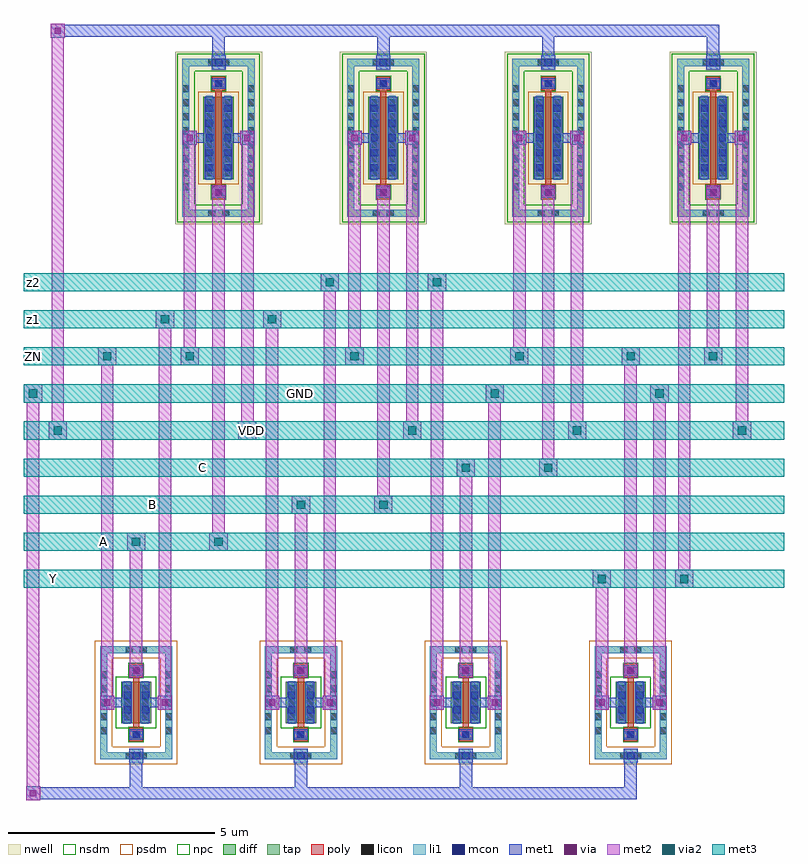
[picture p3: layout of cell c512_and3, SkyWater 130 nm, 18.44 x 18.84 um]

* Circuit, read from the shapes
.subckt c512_and3 A B C GND VDD Y ZN z1 z2
XM1 z1 A ZN GND sky130_fd_pr__nfet_01v8 w=1 l=0.15
XM2 z2 B z1 GND sky130_fd_pr__nfet_01v8 w=1 l=0.15
XM3 GND C z2 GND sky130_fd_pr__nfet_01v8 w=1 l=0.15
XM4 GND ZN Y GND sky130_fd_pr__nfet_01v8 w=1 l=0.15
XM5 VDD A ZN VDD sky130_fd_pr__pfet_01v8 w=2 l=0.15
XM6 VDD B ZN VDD sky130_fd_pr__pfet_01v8 w=2 l=0.15
XM7 VDD C ZN VDD sky130_fd_pr__pfet_01v8 w=2 l=0.15
XM8 VDD ZN Y VDD sky130_fd_pr__pfet_01v8 w=2 l=0.15
.ends

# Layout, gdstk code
import gdstk
lib = gdstk.Library(unit=1e-6, precision=1e-09)
def R(c, l, rs):  # rectangles x0, y0, x1, y1
    for r in rs: c.add(gdstk.rectangle(r[:2], r[2:], *l))
def A(c, l, x, y, w, h, nx, ny, dx, dy):  # array of equal rectangles
    R(c, l, [(x+i*dx, y+j*dy, x+i*dx+w, y+j*dy+h) for i in range(nx) for j in range(ny)])
nwell = (64, 20)
diff = (65, 20)
tap = (65, 44)
poly = (66, 20)
licon = (66, 44)
li1 = (67, 20)
mcon = (67, 44)
met1 = (68, 20)
via = (68, 44)
met2 = (69, 20)
via2 = (69, 44)
met3 = (70, 20)
nsdm = (93, 44)
psdm = (94, 20)
npc = (95, 20)

c512_and3 = lib.new_cell('c512_and3')
A(c512_and3, nwell, 3.945, 11.605, 2.11, 4.19, 4, 1, 4, 0)
A(c512_and3, diff, 2.635, -0.5, 0.73, 1, 4, 1, 4, 0)
A(c512_and3, diff, 4.635, 12.7, 0.73, 2, 4, 1, 4, 0)
A(c512_and3, tap, 2.125, -1.37, 1.75, 0.17, 4, 2, 4, 2.57)
A(c512_and3, tap, 4.125, 11.785, 1.75, 0.17, 4, 2, 4, 3.66)
R(c512_and3, tap, [(2.125,-1.2,2.295,1.2), (3.705,-1.2,3.875,1.2), (6.125,-1.2,6.295,1.2), (7.705,-1.2,7.875,1.2), (10.125,-1.2,10.295,1.2), (11.705,-1.2,11.875,1.2), (14.125,-1.2,14.295,1.2), (15.705,-1.2,15.875,1.2), (4.125,11.955,4.295,15.445), (5.705,11.955,5.875,15.445), (8.125,11.955,8.295,15.445), (9.705,11.955,9.875,15.445), (12.125,11.955,12.295,15.445), (13.705,11.955,13.875,15.445), (16.125,11.955,16.295,15.445), (17.705,11.955,17.875,15.445)])
A(c512_and3, poly, 2.835, -0.94, 0.33, 0.33, 4, 2, 4, 1.55)
A(c512_and3, poly, 2.925, -0.61, 0.15, 1.22, 4, 1, 4, 0)
A(c512_and3, poly, 4.835, 12.215, 0.33, 0.33, 4, 2, 4, 2.64)
A(c512_and3, poly, 4.925, 12.545, 0.15, 2.31, 4, 1, 4, 0)
A(c512_and3, licon, 2.915, -0.86, 0.17, 0.17, 4, 2, 4, 1.55)
A(c512_and3, licon, 2.125, -0.765, 0.17, 0.17, 1, 5, 0, 0.34)
A(c512_and3, licon, 3.705, -0.765, 0.17, 0.17, 1, 5, 0, 0.34)
A(c512_and3, licon, 6.125, -0.765, 0.17, 0.17, 1, 5, 0, 0.34)
A(c512_and3, licon, 7.705, -0.765, 0.17, 0.17, 1, 5, 0, 0.34)
A(c512_and3, licon, 10.125, -0.765, 0.17, 0.17, 1, 5, 0, 0.34)
A(c512_and3, licon, 11.705, -0.765, 0.17, 0.17, 1, 5, 0, 0.34)
A(c512_and3, licon, 14.125, -0.765, 0.17, 0.17, 1, 5, 0, 0.34)
A(c512_and3, licon, 15.705, -0.765, 0.17, 0.17, 1, 5, 0, 0.34)
A(c512_and3, licon, 2.695, -0.425, 0.17, 0.17, 1, 3, 0, 0.34)
A(c512_and3, licon, 3.135, -0.425, 0.17, 0.17, 1, 3, 0, 0.34)
A(c512_and3, licon, 6.695, -0.425, 0.17, 0.17, 1, 3, 0, 0.34)
A(c512_and3, licon, 7.135, -0.425, 0.17, 0.17, 1, 3, 0, 0.34)
A(c512_and3, licon, 10.695, -0.425, 0.17, 0.17, 1, 3, 0, 0.34)
A(c512_and3, licon, 11.135, -0.425, 0.17, 0.17, 1, 3, 0, 0.34)
A(c512_and3, licon, 14.695, -0.425, 0.17, 0.17, 1, 3, 0, 0.34)
A(c512_and3, licon, 15.135, -0.425, 0.17, 0.17, 1, 3, 0, 0.34)
A(c512_and3, licon, 4.915, 12.295, 0.17, 0.17, 4, 2, 4, 2.64)
A(c512_and3, licon, 4.125, 12.425, 0.17, 0.17, 1, 8, 0, 0.34)
A(c512_and3, licon, 5.705, 12.425, 0.17, 0.17, 1, 8, 0, 0.34)
A(c512_and3, licon, 8.125, 12.425, 0.17, 0.17, 1, 8, 0, 0.34)
A(c512_and3, licon, 9.705, 12.425, 0.17, 0.17, 1, 8, 0, 0.34)
A(c512_and3, licon, 12.125, 12.425, 0.17, 0.17, 1, 8, 0, 0.34)
A(c512_and3, licon, 13.705, 12.425, 0.17, 0.17, 1, 8, 0, 0.34)
A(c512_and3, licon, 16.125, 12.425, 0.17, 0.17, 1, 8, 0, 0.34)
A(c512_and3, licon, 17.705, 12.425, 0.17, 0.17, 1, 8, 0, 0.34)
A(c512_and3, licon, 4.695, 12.765, 0.17, 0.17, 1, 6, 0, 0.34)
A(c512_and3, licon, 5.135, 12.765, 0.17, 0.17, 1, 6, 0, 0.34)
A(c512_and3, licon, 8.695, 12.765, 0.17, 0.17, 1, 6, 0, 0.34)
A(c512_and3, licon, 9.135, 12.765, 0.17, 0.17, 1, 6, 0, 0.34)
A(c512_and3, licon, 12.695, 12.765, 0.17, 0.17, 1, 6, 0, 0.34)
A(c512_and3, licon, 13.135, 12.765, 0.17, 0.17, 1, 6, 0, 0.34)
A(c512_and3, licon, 16.695, 12.765, 0.17, 0.17, 1, 6, 0, 0.34)
A(c512_and3, licon, 17.135, 12.765, 0.17, 0.17, 1, 6, 0, 0.34)
R(c512_and3, licon, [(2.745,-1.37,2.915,-1.2), (3.085,-1.37,3.255,-1.2), (6.745,-1.37,6.915,-1.2), (7.085,-1.37,7.255,-1.2), (10.745,-1.37,10.915,-1.2), (11.085,-1.37,11.255,-1.2), (14.745,-1.37,14.915,-1.2), (15.085,-1.37,15.255,-1.2), (2.745,1.2,2.915,1.37), (3.085,1.2,3.255,1.37), (6.745,1.2,6.915,1.37), (7.085,1.2,7.255,1.37), (10.745,1.2,10.915,1.37), (11.085,1.2,11.255,1.37), (14.745,1.2,14.915,1.37), (15.085,1.2,15.255,1.37), (4.745,11.785,4.915,11.955), (5.085,11.785,5.255,11.955), (8.745,11.785,8.915,11.955), (9.085,11.785,9.255,11.955), (12.745,11.785,12.915,11.955), (13.085,11.785,13.255,11.955), (16.745,11.785,16.915,11.955), (17.085,11.785,17.255,11.955), (4.745,15.445,4.915,15.615), (5.085,15.445,5.255,15.615), (8.745,15.445,8.915,15.615), (9.085,15.445,9.255,15.615), (12.745,15.445,12.915,15.615), (13.085,15.445,13.255,15.615), (16.745,15.445,16.915,15.615), (17.085,15.445,17.255,15.615)])
A(c512_and3, li1, 2.83, -1.455, 0.34, 0.085, 4, 2, 4, 0.255)
A(c512_and3, li1, 2.125, -1.37, 1.75, 0.17, 4, 2, 4, 2.57)
A(c512_and3, li1, 2.835, -0.86, 0.33, 0.17, 4, 2, 4, 1.55)
A(c512_and3, li1, 4.125, 11.785, 1.75, 0.17, 4, 2, 4, 3.66)
A(c512_and3, li1, 4.835, 12.295, 0.33, 0.17, 4, 2, 4, 2.64)
A(c512_and3, li1, 4.83, 15.36, 0.34, 0.085, 4, 2, 4, 0.255)
R(c512_and3, li1, [(2.125,-1.2,2.295,1.2), (3.705,-1.2,3.875,1.2), (6.125,-1.2,6.295,1.2), (7.705,-1.2,7.875,1.2), (10.125,-1.2,10.295,1.2), (11.705,-1.2,11.875,1.2), (14.125,-1.2,14.295,1.2), (15.705,-1.2,15.875,1.2), (2.695,-0.52,2.865,0.52), (3.135,-0.52,3.305,0.52), (6.695,-0.52,6.865,0.52), (7.135,-0.52,7.305,0.52), (10.695,-0.52,10.865,0.52), (11.135,-0.52,11.305,0.52), (14.695,-0.52,14.865,0.52), (15.135,-0.52,15.305,0.52), (4.125,11.955,4.295,15.445), (5.705,11.955,5.875,15.445), (8.125,11.955,8.295,15.445), (9.705,11.955,9.875,15.445), (12.125,11.955,12.295,15.445), (13.705,11.955,13.875,15.445), (16.125,11.955,16.295,15.445), (17.705,11.955,17.875,15.445), (4.695,12.68,4.865,14.72), (5.135,12.68,5.305,14.72), (8.695,12.68,8.865,14.72), (9.135,12.68,9.305,14.72), (12.695,12.68,12.865,14.72), (13.135,12.68,13.305,14.72), (16.695,12.68,16.865,14.72), (17.135,12.68,17.305,14.72)])
A(c512_and3, mcon, 2.915, -1.37, 0.17, 0.17, 4, 2, 4, 0.51)
A(c512_and3, mcon, 2.915, 0.69, 0.17, 0.17, 4, 1, 4, 0)
A(c512_and3, mcon, 4.915, 12.295, 0.17, 0.17, 4, 2, 4, 2.64)
A(c512_and3, mcon, 4.695, 12.895, 0.17, 0.17, 1, 5, 0, 0.36)
A(c512_and3, mcon, 5.135, 12.895, 0.17, 0.17, 1, 5, 0, 0.36)
A(c512_and3, mcon, 8.695, 12.895, 0.17, 0.17, 1, 5, 0, 0.36)
A(c512_and3, mcon, 9.135, 12.895, 0.17, 0.17, 1, 5, 0, 0.36)
A(c512_and3, mcon, 12.695, 12.895, 0.17, 0.17, 1, 5, 0, 0.36)
A(c512_and3, mcon, 13.135, 12.895, 0.17, 0.17, 1, 5, 0, 0.36)
A(c512_and3, mcon, 16.695, 12.895, 0.17, 0.17, 1, 5, 0, 0.36)
A(c512_and3, mcon, 17.135, 12.895, 0.17, 0.17, 1, 5, 0, 0.36)
A(c512_and3, mcon, 4.915, 15.445, 0.17, 0.17, 4, 1, 4, 0)
R(c512_and3, mcon, [(2.695,-0.265,2.865,-0.095), (3.135,-0.265,3.305,-0.095), (6.695,-0.265,6.865,-0.095), (7.135,-0.265,7.305,-0.095), (10.695,-0.265,10.865,-0.095), (11.135,-0.265,11.305,-0.095), (14.695,-0.265,14.865,-0.095), (15.135,-0.265,15.305,-0.095), (2.695,0.095,2.865,0.265), (3.135,0.095,3.305,0.265), (6.695,0.095,6.865,0.265), (7.135,0.095,7.305,0.265), (10.695,0.095,10.865,0.265), (11.135,0.095,11.305,0.265), (14.695,0.095,14.865,0.265), (15.135,0.095,15.305,0.265)])
A(c512_and3, met1, 2.85, -2.05, 0.3, 0.595, 4, 1, 4, 0)
A(c512_and3, met1, 2.83, -1.455, 0.34, 0.34, 4, 1, 4, 0)
A(c512_and3, met1, 2.83, -0.905, 0.34, 0.26, 4, 2, 4, 1.55)
A(c512_and3, met1, 4.83, 12.25, 0.34, 0.26, 4, 2, 4, 2.64)
A(c512_and3, met1, 4.83, 15.36, 0.34, 0.34, 4, 1, 4, 0)
A(c512_and3, met1, 4.85, 15.7, 0.3, 0.45, 4, 1, 4, 0)
R(c512_and3, met1, [(0.33,-2.37,0.67,-2.35), (0.33,-2.35,15.15,-2.05), (0.33,-2.05,0.67,-2.03), (2.665,-0.5,2.895,-0.115), (3.105,-0.5,3.335,-0.115), (6.665,-0.5,6.895,-0.115), (7.105,-0.5,7.335,-0.115), (10.665,-0.5,10.895,-0.115), (11.105,-0.5,11.335,-0.115), (14.665,-0.5,14.895,-0.115), (15.105,-0.5,15.335,-0.115), (2.13,-0.17,2.47,-0.115), (3.53,-0.17,3.87,-0.115), (6.13,-0.17,6.47,-0.115), (7.53,-0.17,7.87,-0.115), (10.13,-0.17,10.47,-0.115), (11.53,-0.17,11.87,-0.115), (14.13,-0.17,14.47,-0.115), (15.53,-0.17,15.87,-0.115), (2.13,-0.115,2.895,0.115), (3.105,-0.115,3.87,0.115), (6.13,-0.115,6.895,0.115), (7.105,-0.115,7.87,0.115), (10.13,-0.115,10.895,0.115), (11.105,-0.115,11.87,0.115), (14.13,-0.115,14.895,0.115), (15.105,-0.115,15.87,0.115), (2.13,0.115,2.47,0.17), (2.665,0.115,2.895,0.5), (3.105,0.115,3.335,0.5), (3.53,0.115,3.87,0.17), (6.13,0.115,6.47,0.17), (6.665,0.115,6.895,0.5), (7.105,0.115,7.335,0.5), (7.53,0.115,7.87,0.17), (10.13,0.115,10.47,0.17), (10.665,0.115,10.895,0.5), (11.105,0.115,11.335,0.5), (11.53,0.115,11.87,0.17), (14.13,0.115,14.47,0.17), (14.665,0.115,14.895,0.5), (15.105,0.115,15.335,0.5), (15.53,0.115,15.87,0.17), (4.665,12.7,4.895,13.585), (5.105,12.7,5.335,13.585), (8.665,12.7,8.895,13.585), (9.105,12.7,9.335,13.585), (12.665,12.7,12.895,13.585), (13.105,12.7,13.335,13.585), (16.665,12.7,16.895,13.585), (17.105,12.7,17.335,13.585), (4.13,13.53,4.47,13.585), (5.53,13.53,5.87,13.585), (8.13,13.53,8.47,13.585), (9.53,13.53,9.87,13.585), (12.13,13.53,12.47,13.585), (13.53,13.53,13.87,13.585), (16.13,13.53,16.47,13.585), (17.53,13.53,17.87,13.585), (4.13,13.585,4.895,13.815), (5.105,13.585,5.87,13.815), (8.13,13.585,8.895,13.815), (9.105,13.585,9.87,13.815), (12.13,13.585,12.895,13.815), (13.105,13.585,13.87,13.815), (16.13,13.585,16.895,13.815), (17.105,13.585,17.87,13.815), (4.13,13.815,4.47,13.87), (4.665,13.815,4.895,14.7), (5.105,13.815,5.335,14.7), (5.53,13.815,5.87,13.87), (8.13,13.815,8.47,13.87), (8.665,13.815,8.895,14.7), (9.105,13.815,9.335,14.7), (9.53,13.815,9.87,13.87), (12.13,13.815,12.47,13.87), (12.665,13.815,12.895,14.7), (13.105,13.815,13.335,14.7), (13.53,13.815,13.87,13.87), (16.13,13.815,16.47,13.87), (16.665,13.815,16.895,14.7), (17.105,13.815,17.335,14.7), (17.53,13.815,17.87,13.87), (0.93,16.13,1.27,16.15), (0.93,16.15,17.15,16.45), (0.93,16.45,1.27,16.47)])
A(c512_and3, via, 2.925, 0.7, 0.15, 0.15, 4, 1, 4, 0)
A(c512_and3, via, 4.925, 12.305, 0.15, 0.15, 4, 1, 4, 0)
R(c512_and3, via, [(0.425,-2.275,0.575,-2.125), (2.225,-0.075,2.375,0.075), (3.625,-0.075,3.775,0.075), (6.225,-0.075,6.375,0.075), (7.625,-0.075,7.775,0.075), (10.225,-0.075,10.375,0.075), (11.625,-0.075,11.775,0.075), (14.225,-0.075,14.375,0.075), (15.625,-0.075,15.775,0.075), (4.225,13.625,4.375,13.775), (5.625,13.625,5.775,13.775), (8.225,13.625,8.375,13.775), (9.625,13.625,9.775,13.775), (12.225,13.625,12.375,13.775), (13.625,13.625,13.775,13.775), (16.225,13.625,16.375,13.775), (17.625,13.625,17.775,13.775), (1.025,16.225,1.175,16.375)])
A(c512_and3, met2, 2.83, 0.605, 0.34, 0.34, 4, 1, 4, 0)
A(c512_and3, met2, 5.48, 6.38, 0.44, 0.44, 4, 1, 4, 0)
A(c512_and3, met2, 5.55, 6.82, 0.3, 6.71, 4, 1, 4, 0)
A(c512_and3, met2, 4.08, 8.18, 0.44, 0.44, 3, 1, 4, 0)
A(c512_and3, met2, 4.15, 8.62, 0.3, 4.91, 3, 1, 4, 0)
A(c512_and3, met2, 4.83, 12.21, 0.34, 0.34, 4, 1, 4, 0)
R(c512_and3, met2, [(0.33,-2.37,0.67,-2.03), (0.35,-2.03,0.65,7.28), (2.13,-0.17,2.47,0.17), (3.53,-0.17,3.87,0.17), (6.13,-0.17,6.47,0.17), (7.53,-0.17,7.87,0.17), (10.13,-0.17,10.47,0.17), (11.53,-0.17,11.87,0.17), (14.13,-0.17,14.47,0.17), (15.53,-0.17,15.87,0.17), (2.15,0.17,2.45,8.18), (3.55,0.17,3.85,9.08), (6.15,0.17,6.45,9.08), (7.55,0.17,7.85,9.98), (10.15,0.17,10.45,9.98), (11.55,0.17,11.85,7.28), (14.15,0.17,14.45,2.78), (15.55,0.17,15.85,7.28), (2.85,0.945,3.15,3.68), (6.85,0.945,7.15,4.58), (10.85,0.945,11.15,5.48), (14.85,0.945,15.15,8.18), (14.08,2.78,14.52,3.22), (16.08,2.78,16.52,3.22), (16.15,3.22,16.45,13.53), (2.78,3.68,3.22,4.12), (4.78,3.68,5.22,4.12), (4.85,4.12,5.15,12.21), (6.78,4.58,7.22,5.02), (8.78,4.58,9.22,5.02), (8.85,5.02,9.15,12.21), (10.78,5.48,11.22,5.92), (12.78,5.48,13.22,5.92), (12.85,5.92,13.15,12.21), (0.88,6.38,1.32,6.82), (0.95,6.82,1.25,16.13), (0.28,7.28,0.72,7.72), (11.48,7.28,11.92,7.72), (15.48,7.28,15.92,7.72), (2.08,8.18,2.52,8.62), (14.78,8.18,15.22,8.62), (16.78,8.18,17.22,8.62), (16.85,8.62,17.15,12.21), (3.48,9.08,3.92,9.52), (6.08,9.08,6.52,9.52), (7.48,9.98,7.92,10.42), (10.08,9.98,10.52,10.42), (4.13,13.53,4.47,13.87), (5.53,13.53,5.87,13.87), (8.13,13.53,8.47,13.87), (9.53,13.53,9.87,13.87), (12.13,13.53,12.47,13.87), (13.53,13.53,13.87,13.87), (16.13,13.53,16.47,13.87), (17.53,13.53,17.87,13.87), (0.93,16.13,1.27,16.47)])
A(c512_and3, via2, 5.6, 6.5, 0.2, 0.2, 4, 1, 4, 0)
A(c512_and3, via2, 4.2, 8.3, 0.2, 0.2, 3, 1, 4, 0)
R(c512_and3, via2, [(14.2,2.9,14.4,3.1), (16.2,2.9,16.4,3.1), (2.9,3.8,3.1,4), (4.9,3.8,5.1,4), (6.9,4.7,7.1,4.9), (8.9,4.7,9.1,4.9), (10.9,5.6,11.1,5.8), (12.9,5.6,13.1,5.8), (1,6.5,1.2,6.7), (0.4,7.4,0.6,7.6), (11.6,7.4,11.8,7.6), (15.6,7.4,15.8,7.6), (2.2,8.3,2.4,8.5), (14.9,8.3,15.1,8.5), (16.9,8.3,17.1,8.5), (3.6,9.2,3.8,9.4), (6.2,9.2,6.4,9.4), (7.6,10.1,7.8,10.3), (10.2,10.1,10.4,10.3)])
A(c512_and3, met3, 0.28, 2.78, 18.44, 0.44, 1, 9, 0, 0.9)
A(c512_and3, nsdm, 2.51, -0.625, 0.98, 1.25, 4, 1, 4, 0)
A(c512_and3, nsdm, 4, 11.66, 2, 0.42, 4, 2, 4, 3.66)
R(c512_and3, nsdm, [(4,12.08,4.42,15.32), (5.58,12.08,6,15.32), (8,12.08,8.42,15.32), (9.58,12.08,10,15.32), (12,12.08,12.42,15.32), (13.58,12.08,14,15.32), (16,12.08,16.42,15.32), (17.58,12.08,18,15.32)])
A(c512_and3, psdm, 2, -1.495, 2, 0.42, 4, 2, 4, 2.57)
A(c512_and3, psdm, 4.51, 12.575, 0.98, 2.25, 4, 1, 4, 0)
R(c512_and3, psdm, [(2,-1.075,2.42,1.075), (3.58,-1.075,4,1.075), (6,-1.075,6.42,1.075), (7.58,-1.075,8,1.075), (10,-1.075,10.42,1.075), (11.58,-1.075,12,1.075), (14,-1.075,14.42,1.075), (15.58,-1.075,16,1.075)])
A(c512_and3, npc, 2.815, -0.96, 0.37, 0.37, 4, 2, 4, 1.55)
A(c512_and3, npc, 4.815, 12.195, 0.37, 0.37, 4, 2, 4, 2.64)
c512_and3.add(gdstk.Label('ZN', (0.5,8.4), layer=70, texttype=5))
c512_and3.add(gdstk.Label('z1', (0.5,9.3), layer=70, texttype=5))
c512_and3.add(gdstk.Label('z2', (0.5,10.2), layer=70, texttype=5))
c512_and3.add(gdstk.Label('Y', (1,3), layer=70, texttype=5))
c512_and3.add(gdstk.Label('A', (2.2,3.9), layer=70, texttype=5))
c512_and3.add(gdstk.Label('B', (3.4,4.8), layer=70, texttype=5))
c512_and3.add(gdstk.Label('C', (4.6,5.7), layer=70, texttype=5))
c512_and3.add(gdstk.Label('VDD', (5.8,6.6), layer=70, texttype=5))
c512_and3.add(gdstk.Label('GND', (7,7.5), layer=70, texttype=5))

lib.write_gds('c512_and3.gds')
